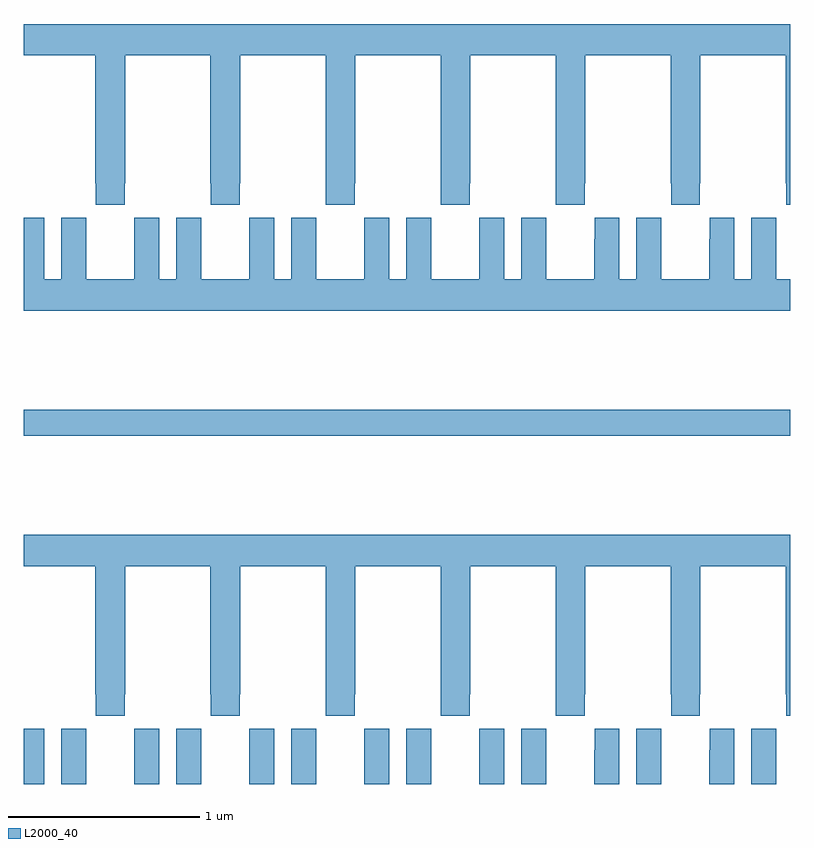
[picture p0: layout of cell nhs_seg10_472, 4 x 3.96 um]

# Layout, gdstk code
import gdstk
lib = gdstk.Library(unit=1e-6, precision=1e-09)
def R(c, l, rs):  # rectangles x0, y0, x1, y1
    for r in rs: c.add(gdstk.rectangle(r[:2], r[2:], *l))
def P(c, l, *ps):  # polygons
    for p in ps: c.add(gdstk.Polygon(p, *l))
L2000_40 = (2000, 40)

nhs_seg10_472 = lib.new_cell('nhs_seg10_472')
R(nhs_seg10_472, L2000_40, [(133,1312.5,133.108,1312.789), (133,1314.316,137,1314.452)])
P(nhs_seg10_472, L2000_40, [(133.527,1315.633),(133.53,1315.633),(133.53,1316.3),(133.975,1316.3),(133.975,1315.633),(133.977,1315.633),(133.977,1315.521),(134.127,1315.521),(134.127,1315.633),(134.13,1315.633),(134.13,1316.3),(134.575,1316.3),(134.575,1315.633),(134.577,1315.633),(134.577,1315.521),(134.727,1315.521),(134.727,1315.633),(134.73,1315.633),(134.73,1316.3),(135.175,1316.3),(135.175,1315.633),(135.177,1315.633),(135.177,1315.521),(135.327,1315.521),(135.327,1315.633),(135.33,1315.633),(135.33,1316.3),(135.775,1316.3),(135.775,1315.633),(135.777,1315.633),(135.777,1315.521),(135.927,1315.521),(135.927,1315.633),(135.93,1315.633),(135.93,1316.3),(136.375,1316.3),(136.375,1315.633),(136.377,1315.633),(136.377,1315.521),(136.527,1315.521),(136.527,1315.633),(136.53,1315.633),(136.53,1316.3),(136.975,1316.3),(136.975,1315.633),(136.977,1315.633),(136.977,1315.521),(137,1315.521),(137,1316.464),(133,1316.464),(133,1316.3),(133.375,1316.3),(133.375,1315.633),(133.377,1315.633),(133.377,1315.521),(133.527,1315.521)],
  [(137,1315.132),(136.927,1315.132),(136.927,1315.34),(136.926,1315.34),(136.926,1315.453),(136.796,1315.453),(136.796,1315.132),(136.708,1315.132),(136.708,1315.453),(136.578,1315.453),(136.578,1315.34),(136.577,1315.34),(136.577,1315.132),(136.327,1315.132),(136.327,1315.34),(136.326,1315.34),(136.326,1315.453),(136.196,1315.453),(136.196,1315.132),(136.108,1315.132),(136.108,1315.453),(135.978,1315.453),(135.978,1315.34),(135.977,1315.34),(135.977,1315.132),(135.727,1315.132),(135.727,1315.34),(135.726,1315.34),(135.726,1315.453),(135.596,1315.453),(135.596,1315.132),(135.508,1315.132),(135.508,1315.453),(135.378,1315.453),(135.378,1315.34),(135.377,1315.34),(135.377,1315.132),(135.127,1315.132),(135.127,1315.34),(135.126,1315.34),(135.126,1315.453),(134.996,1315.453),(134.996,1315.132),(134.908,1315.132),(134.908,1315.453),(134.778,1315.453),(134.778,1315.34),(134.777,1315.34),(134.777,1315.132),(134.527,1315.132),(134.527,1315.34),(134.526,1315.34),(134.526,1315.453),(134.396,1315.453),(134.396,1315.132),(134.308,1315.132),(134.308,1315.453),(134.178,1315.453),(134.178,1315.34),(134.177,1315.34),(134.177,1315.132),(133.927,1315.132),(133.927,1315.34),(133.926,1315.34),(133.926,1315.453),(133.796,1315.453),(133.796,1315.132),(133.708,1315.132),(133.708,1315.453),(133.578,1315.453),(133.578,1315.34),(133.577,1315.34),(133.577,1315.132),(133.327,1315.132),(133.327,1315.34),(133.326,1315.34),(133.326,1315.453),(133.196,1315.453),(133.196,1315.132),(133.108,1315.132),(133.108,1315.453),(133,1315.453),(133,1314.968),(137,1314.968)],
  [(133,1313.636),(133.375,1313.636),(133.375,1312.969),(133.377,1312.969),(133.377,1312.857),(133.527,1312.857),(133.527,1312.969),(133.53,1312.969),(133.53,1313.636),(133.975,1313.636),(133.975,1312.969),(133.977,1312.969),(133.977,1312.857),(134.127,1312.857),(134.127,1312.969),(134.13,1312.969),(134.13,1313.636),(134.575,1313.636),(134.575,1312.969),(134.577,1312.969),(134.577,1312.857),(134.727,1312.857),(134.727,1312.969),(134.73,1312.969),(134.73,1313.636),(135.175,1313.636),(135.175,1312.969),(135.177,1312.969),(135.177,1312.857),(135.327,1312.857),(135.327,1312.969),(135.33,1312.969),(135.33,1313.636),(135.775,1313.636),(135.775,1312.969),(135.777,1312.969),(135.777,1312.857),(135.927,1312.857),(135.927,1312.969),(135.93,1312.969),(135.93,1313.636),(136.375,1313.636),(136.375,1312.969),(136.377,1312.969),(136.377,1312.857),(136.527,1312.857),(136.527,1312.969),(136.53,1312.969),(136.53,1313.636),(136.975,1313.636),(136.975,1312.969),(136.977,1312.969),(136.977,1312.857),(137,1312.857),(137,1313.8),(133,1313.8)],
  [(133.708,1312.789),(133.578,1312.789),(133.578,1312.676),(133.577,1312.676),(133.577,1312.5),(133.708,1312.5)],
  [(134.308,1312.789),(134.178,1312.789),(134.178,1312.676),(134.177,1312.676),(134.177,1312.5),(134.308,1312.5)],
  [(134.527,1312.676),(134.526,1312.676),(134.526,1312.789),(134.396,1312.789),(134.396,1312.5),(134.527,1312.5)],
  [(134.908,1312.789),(134.778,1312.789),(134.778,1312.676),(134.777,1312.676),(134.777,1312.5),(134.908,1312.5)],
  [(135.127,1312.676),(135.126,1312.676),(135.126,1312.789),(134.996,1312.789),(134.996,1312.5),(135.127,1312.5)],
  [(135.508,1312.789),(135.378,1312.789),(135.378,1312.676),(135.377,1312.676),(135.377,1312.5),(135.508,1312.5)],
  [(135.727,1312.676),(135.726,1312.676),(135.726,1312.789),(135.596,1312.789),(135.596,1312.5),(135.727,1312.5)],
  [(136.108,1312.789),(135.978,1312.789),(135.978,1312.676),(135.977,1312.676),(135.977,1312.5),(136.108,1312.5)],
  [(136.327,1312.676),(136.326,1312.676),(136.326,1312.789),(136.196,1312.789),(136.196,1312.5),(136.327,1312.5)],
  [(136.708,1312.789),(136.578,1312.789),(136.578,1312.676),(136.577,1312.676),(136.577,1312.5),(136.708,1312.5)],
  [(136.927,1312.676),(136.926,1312.676),(136.926,1312.789),(136.796,1312.789),(136.796,1312.5),(136.927,1312.5)],
  [(133.927,1312.676),(133.926,1312.676),(133.926,1312.789),(133.796,1312.789),(133.796,1312.5),(133.927,1312.5)],
  [(133.327,1312.676),(133.326,1312.676),(133.326,1312.789),(133.196,1312.789),(133.196,1312.5),(133.327,1312.5)])

lib.write_gds('nhs_seg10_472.gds')
